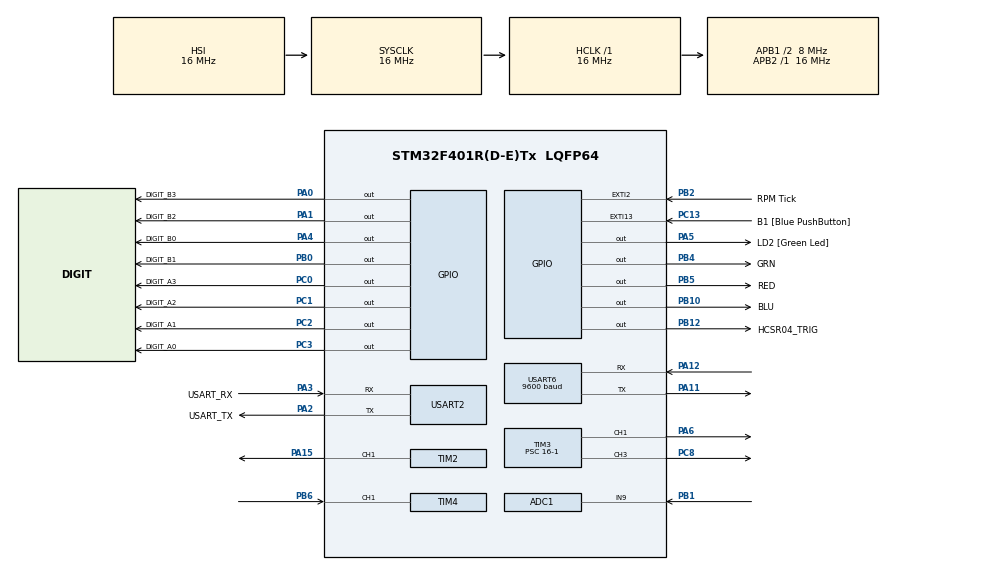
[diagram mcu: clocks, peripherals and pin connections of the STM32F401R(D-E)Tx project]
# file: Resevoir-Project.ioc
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ADC1.Channel-1\#ChannelRegularConversion=ADC_CHANNEL_9
ADC1.NbrOfConversionFlag=1
ADC1.Rank-1\#ChannelRegularConversion=1
ADC1.Resolution=ADC_RESOLUTION_8B
ADC1.SamplingTime-1\#ChannelRegularConversion=ADC_SAMPLETIME_15CYCLES
ADC1.ScanConvMode=ENABLE
ADC1.master=1
Mcu.Family=STM32F4
Mcu.Name=STM32F401R(D-E)Tx
Mcu.Package=LQFP64
NVIC.EXTI15_10_IRQn=true\:0\:0\:false\:false\:true\:true\:true\:true
NVIC.EXTI2_IRQn=true\:0\:0\:false\:false\:true\:true\:true\:true
NVIC.PriorityGroup=NVIC_PRIORITYGROUP_0
NVIC.TIM4_IRQn=true\:0\:0\:false\:false\:true\:true\:true\:true
NVIC.TIM5_IRQn=true\:0\:0\:false\:false\:true\:true\:true\:true
NVIC.USART6_IRQn=true\:0\:0\:false\:false\:true\:true\:true\:true
PA0-WKUP.GPIO_Label=DIGIT_B3
PA0-WKUP.Signal=GPIO_Output
PA1.GPIO_Label=DIGIT_B2
PA1.Signal=GPIO_Output
PA11.Mode=Asynchronous
PA11.Signal=USART6_TX
PA12.Mode=Asynchronous
PA12.Signal=USART6_RX
PA13.GPIO_Label=TMS
PA13.Mode=Serial_Wire
PA13.Signal=SYS_JTMS-SWDIO
PA14.GPIO_Label=TCK
PA14.Mode=Serial_Wire
PA14.Signal=SYS_JTCK-SWCLK
PA15.Signal=S_TIM2_CH1_ETR
PA2.GPIO_Label=USART_TX
PA2.GPIO_Mode=GPIO_MODE_AF_PP
PA2.GPIO_PuPd=GPIO_NOPULL
PA2.GPIO_Speed=GPIO_SPEED_FREQ_LOW
PA2.Mode=Asynchronous
PA2.Signal=USART2_TX
PA3.GPIO_Label=USART_RX
PA3.GPIO_Mode=GPIO_MODE_AF_PP
PA3.GPIO_PuPd=GPIO_NOPULL
PA3.GPIO_Speed=GPIO_SPEED_FREQ_LOW
PA3.Mode=Asynchronous
PA3.Signal=USART2_RX
PA4.GPIO_Label=DIGIT_B0
PA4.Signal=GPIO_Output
PA5.GPIO_Label=LD2 [Green Led]
PA5.GPIO_Mode=GPIO_MODE_OUTPUT_PP
PA5.GPIO_PuPd=GPIO_NOPULL
PA5.GPIO_Speed=GPIO_SPEED_FREQ_LOW
PA5.Signal=GPIO_Output
PA6.Signal=S_TIM3_CH1
PB0.GPIO_Label=DIGIT_B1
PB0.Signal=GPIO_Output
PB1.Signal=SharedAnalog_PB1
PB10.GPIO_Label=BLU
PB10.Signal=GPIO_Output
PB12.GPIO_Label=HCSR04_TRIG
PB12.Signal=GPIO_Output
PB2.GPIO_Label=RPM Tick
PB2.GPIO_ModeDefaultEXTI=GPIO_MODE_IT_RISING
PB2.Signal=GPXTI2
PB3.GPIO_Label=SWO
PB3.Signal=SYS_JTDO-SWO
PB4.GPIO_Label=GRN
PB4.Signal=GPIO_Output
PB5.GPIO_Label=RED
PB5.Signal=GPIO_Output
PB6.Signal=S_TIM4_CH1
PC0.GPIO_Label=DIGIT_A3
PC0.Signal=GPIO_Output
PC1.GPIO_Label=DIGIT_A2
PC1.Signal=GPIO_Output
PC13-ANTI_TAMP.GPIO_Label=B1 [Blue PushButton]
PC13-ANTI_TAMP.GPIO_ModeDefaultEXTI=GPIO_MODE_IT_FALLING
PC13-ANTI_TAMP.GPIO_PuPd=GPIO_NOPULL
PC13-ANTI_TAMP.Signal=GPXTI13
PC14-OSC32_IN.Mode=LSE-External-Oscillator
PC14-OSC32_IN.Signal=RCC_OSC32_IN
PC15-OSC32_OUT.Mode=LSE-External-Oscillator
PC15-OSC32_OUT.Signal=RCC_OSC32_OUT
PC2.GPIO_Label=DIGIT_A1
PC2.Signal=GPIO_Output
PC3.GPIO_Label=DIGIT_A0
PC3.Signal=GPIO_Output
PC8.Signal=S_TIM3_CH3
PH0\ -\ OSC_IN.Mode=HSE-External-Clock-Source
PH0\ -\ OSC_IN.Signal=RCC_OSC_IN
PH1\ -\ OSC_OUT.Mode=HSE-External-Clock-Source
PH1\ -\ OSC_OUT.Signal=RCC_OSC_OUT
ProjectManager.HeapSize=0x200
ProjectManager.StackSize=0x400
ProjectManager.TargetToolchain=STM32CubeIDE
RCC.48MHZClocksFreq_Value=48000000
RCC.AHBFreq_Value=16000000
RCC.APB1CLKDivider=RCC_HCLK_DIV2
RCC.APB1Freq_Value=8000000
RCC.APB1TimFreq_Value=16000000
RCC.APB2Freq_Value=16000000
RCC.APB2TimFreq_Value=16000000
RCC.CortexFreq_Value=16000000
RCC.HCLKFreq_Value=16000000
RCC.HSE_VALUE=8000000
RCC.HSI_VALUE=16000000
RCC.PLLN=336
RCC.PLLP=RCC_PLLP_DIV4
RCC.PLLQ=7
RCC.SYSCLKFreq_VALUE=16000000
RCC.VCOOutputFreq_Value=336000000
SH.S_TIM2_CH1_ETR.0=TIM2_CH1,PWM Generation1 CH1
SH.S_TIM3_CH1.0=TIM3_CH1,PWM Generation1 CH1
SH.S_TIM3_CH3.0=TIM3_CH3,PWM Generation3 CH3
SH.S_TIM4_CH1.0=TIM4_CH1,Input_Capture1_from_TI1
SH.SharedAnalog_PB1.0=GPIO_Analog
SH.SharedAnalog_PB1.1=ADC1_IN9,IN9
TIM2.AutoReloadPreload=TIM_AUTORELOAD_PRELOAD_ENABLE
TIM2.Channel-PWM\ Generation1\ CH1=TIM_CHANNEL_1
TIM2.Period=20000-1
TIM2.Prescaler=16-1
TIM2.Pulse-PWM\ Generation1\ CH1=500-1
TIM3.AutoReloadPreload=TIM_AUTORELOAD_PRELOAD_ENABLE
TIM3.Channel-PWM\ Generation1\ CH1=TIM_CHANNEL_1
TIM3.Channel-PWM\ Generation3\ CH3=TIM_CHANNEL_3
TIM3.Period=2000-1
TIM3.Prescaler=16-1
TIM3.Pulse-PWM\ Generation1\ CH1=1200-1
TIM4.Channel-Input_Capture1_from_TI1=TIM_CHANNEL_1
TIM4.ICPolarity_CH1=TIM_INPUTCHANNELPOLARITY_BOTHEDGE
TIM4.Period=65536-1
TIM4.Prescaler=16-1
TIM5.AutoReloadPreload=TIM_AUTORELOAD_PRELOAD_ENABLE
TIM5.Period=1000-1
TIM5.Prescaler=53
USART2.VirtualMode=VM_ASYNC
USART6.BaudRate=9600
USART6.Mode=MODE_TX_RX
USART6.VirtualMode=VM_ASYNC
VP_TIM2_VS_ClockSourceINT.Mode=Internal
VP_TIM4_VS_ClockSourceINT.Mode=Internal
VP_TIM5_VS_ClockSourceINT.Mode=Internal
board=NUCLEO-F401RE

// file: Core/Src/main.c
/* USER CODE BEGIN Header */
/**
  ******************************************************************************
  * @file           : main.c
  * @brief          : Main program body
  ******************************************************************************
  * @attention
  *
  * Copyright (c) 2024 STMicroelectronics.
  * All rights reserved.
  *
  * This software is licensed under terms that can be found in the LICENSE file
  * in the root directory of this software component.
  * If no LICENSE file comes with this software, it is provided AS-IS.
  *
  ******************************************************************************
  */
/* USER CODE END Header */
#include "main.h"

/* USER CODE BEGIN Includes */
#include <string.h>
#include <stdio.h>
#include <time.h>
#include <stdlib.h>
/* USER CODE END Includes */

ADC_HandleTypeDef hadc1;

TIM_HandleTypeDef htim2;
TIM_HandleTypeDef htim3;
TIM_HandleTypeDef htim4;
TIM_HandleTypeDef htim5;

UART_HandleTypeDef huart2;
UART_HandleTypeDef huart6;

/* USER CODE BEGIN PV */
volatile uint8_t clock_hours = 0;
volatile uint8_t clock_mins = 0;
volatile uint8_t clock_secs = 0;
volatile uint8_t wall_clock_hr_update_flag = 0;

volatile uint8_t hcsr04_Rx_flag = 0; // Reset the interrupt flag for the HCSR04
volatile uint8_t first_edge = 0; // Set it back to false
volatile uint16_t time_edge1 = 0;
volatile uint16_t time_edge2 = 0;

volatile uint16_t rpm_tick_count = 0;

uint8_t empty = 0;
uint8_t byte[2];
uint8_t rcv_intpt_flag = 0;
uint8_t txd_msg_buffer[64] = {0};

uint16_t time_diff = 0;
int filled = 0;
int distance = 0;

uint8_t counter_tens = 0;
uint8_t counter_ones = 0;
uint8_t bottom_distance = 65; //distance to bottom in cm
uint8_t top_distance = 10; //distance to top in cm
uint8_t rpm = 0;

int TIM2_CH1_DCVAL = 500;

/* USER CODE END PV */

void SystemClock_Config(void);
static void MX_GPIO_Init(void);
static void MX_USART2_UART_Init(void);
static void MX_USART6_UART_Init(void);
static void MX_ADC1_Init(void);
static void MX_TIM3_Init(void);
static void MX_TIM2_Init(void);
static void MX_TIM4_Init(void);
static void MX_TIM5_Init(void);
/* USER CODE BEGIN PFP */
static void ADC_Select_CH(int CH);
/* USER CODE END PFP */

/* USER CODE BEGIN 0 */

void ADC_Select_CH(int CH)
{
    ADC_ChannelConfTypeDef sConfig = {0};
    switch(CH)
    {
        case 0:
            sConfig.Channel = ADC_CHANNEL_0;
            sConfig.Rank = 1;
            if (HAL_ADC_ConfigChannel(&hadc1, &sConfig) != HAL_OK)
            {
                Error_Handler();
            }
            break;
        case 1:
            sConfig.Channel = ADC_CHANNEL_1;
            sConfig.Rank = 1;
            if (HAL_ADC_ConfigChannel(&hadc1, &sConfig) != HAL_OK)
            {
                Error_Handler();
            }
            break;
        case 2:
            sConfig.Channel = ADC_CHANNEL_2;
            sConfig.Rank = 1;
            if (HAL_ADC_ConfigChannel(&hadc1, &sConfig) != HAL_OK)
            {
                Error_Handler();
            }
            break;
        case 3:
            sConfig.Channel = ADC_CHANNEL_3;
            sConfig.Rank = 1;
            if (HAL_ADC_ConfigChannel(&hadc1, &sConfig) != HAL_OK)
            {
                Error_Handler();
            }
            break;
        case 4:
            sConfig.Channel = ADC_CHANNEL_4;
            sConfig.Rank = 1;
            if (HAL_ADC_ConfigChannel(&hadc1, &sConfig) != HAL_OK)
            {
                Error_Handler();
            }
            break;
        case 5:
            sConfig.Channel = ADC_CHANNEL_5;
            sConfig.Rank = 1;
            if (HAL_ADC_ConfigChannel(&hadc1, &sConfig) != HAL_OK)
            {
                Error_Handler();
            }
            break;
        case 6:
            sConfig.Channel = ADC_CHANNEL_6;
            sConfig.Rank = 1;
            if (HAL_ADC_ConfigChannel(&hadc1, &sConfig) != HAL_OK)
            {
                Error_Handler();
            }
            break;
        case 7:
            sConfig.Channel = ADC_CHANNEL_7;
            sConfig.Rank = 1;
            if (HAL_ADC_ConfigChannel(&hadc1, &sConfig) != HAL_OK)
            {
                Error_Handler();
            }
            break;
        case 8:
            sConfig.Channel = ADC_CHANNEL_8;
            sConfig.Rank = 1;
            if (HAL_ADC_ConfigChannel(&hadc1, &sConfig) != HAL_OK)
            {
                Error_Handler();
            }
            break;
        case 9:
            sConfig.Channel = ADC_CHANNEL_9;
            sConfig.Rank = 1;
            if (HAL_ADC_ConfigChannel(&hadc1, &sConfig) != HAL_OK)
            {
                Error_Handler();
            }
            break;
        case 10:
            sConfig.Channel = ADC_CHANNEL_10;
            sConfig.Rank = 1;
            if (HAL_ADC_ConfigChannel(&hadc1, &sConfig) != HAL_OK)
            {
                Error_Handler();
            }
            break;
        case 11:
            sConfig.Channel = ADC_CHANNEL_11;
            sConfig.Rank = 1;
            if (HAL_ADC_ConfigChannel(&hadc1, &sConfig) != HAL_OK)
            {
                Error_Handler();
            }
            break;
        case 12:
            sConfig.Channel = ADC_CHANNEL_12;
            sConfig.Rank = 1;
            if (HAL_ADC_ConfigChannel(&hadc1, &sConfig) != HAL_OK)
            {
                Error_Handler();
            }
            break;
        case 13:
            sConfig.Channel = ADC_CHANNEL_13;
            sConfig.Rank = 1;
            if (HAL_ADC_ConfigChannel(&hadc1, &sConfig) != HAL_OK)
            {
                Error_Handler();
            }
            break;
        case 14:
            sConfig.Channel = ADC_CHANNEL_14;
            sConfig.Rank = 1;
            if (HAL_ADC_ConfigChannel(&hadc1, &sConfig) != HAL_OK)
            {
                Error_Handler();
            }
            break;
        case 15:
            sConfig.Channel = ADC_CHANNEL_15;
            sConfig.Rank = 1;
            if (HAL_ADC_ConfigChannel(&hadc1, &sConfig) != HAL_OK)
            {
                Error_Handler();
            }
            break;
    }
}

void DIGITS_Display(uint8_t DIGIT)
{
	uint8_t DIGIT_B = DIGIT % 10;
	uint8_t DIGIT_A = (DIGIT - DIGIT_B) / 10;

	uint8_t DIGITA_VAL = 0x0F & DIGIT_A; //mask off higher4 bits
	 int Abit0 = (DIGITA_VAL ) & 1;  	// extract Abit0 of the 4-bit value
	 int Abit1 = (DIGITA_VAL >> 1) & 1;  // extract Abit1 of the 4-bit value
	 int Abit2 = (DIGITA_VAL >> 2) & 1;  // extract Abit2 of the 4-bit value
	 int Abit3 = (DIGITA_VAL >> 3) & 1;  // extract Abit3 of the 4-bit value

	 uint8_t DIGITB_VAL = 0x0F & DIGIT_B; //mask off higher4 bits
	 int Bbit0 = (DIGITB_VAL ) & 1;  	// extract Bbit0 of the 4-bit value
	 int Bbit1 = (DIGITB_VAL >> 1) & 1;  // extract Bbit1 of the 4-bit value
	 int Bbit2 = (DIGITB_VAL >> 2) & 1;  // extract Bbit2 of the 4-bit value
	 int Bbit3 = (DIGITB_VAL >> 3) & 1;  // extract Bbit3 of the 4-bit value

	 if (Abit0 == (0))
	 {
		 HAL_GPIO_WritePin(GPIOC, DIGIT_A0_Pin, GPIO_PIN_RESET);
	 }
	 else
	 {
		 HAL_GPIO_WritePin(GPIOC, DIGIT_A0_Pin, GPIO_PIN_SET);

	 }
	 if (Abit1 == (0))
	 {
		 HAL_GPIO_WritePin(GPIOC, DIGIT_A1_Pin, GPIO_PIN_RESET);
	 }
	 else
	 {
		 HAL_GPIO_WritePin(GPIOC, DIGIT_A1_Pin, GPIO_PIN_SET);

	 }
	 if (Abit2 == (0))
	 {
		 HAL_GPIO_WritePin(GPIOC, DIGIT_A2_Pin, GPIO_PIN_RESET);
	 }
	 else
	 {
		 HAL_GPIO_WritePin(GPIOC, DIGIT_A2_Pin, GPIO_PIN_SET);

	 }
	 if (Abit3 == (0))
	 {
		 HAL_GPIO_WritePin(GPIOC, DIGIT_A3_Pin, GPIO_PIN_RESET);
	 }
	 else
	 {
		 HAL_GPIO_WritePin(GPIOC, DIGIT_A3_Pin, GPIO_PIN_SET);

	 }

	 if (Bbit0 == (0))
	 {
		 HAL_GPIO_WritePin(GPIOA, DIGIT_B0_Pin, GPIO_PIN_RESET);
	 }
	 else
	 {
		 HAL_GPIO_WritePin(GPIOA, DIGIT_B0_Pin, GPIO_PIN_SET);

	 }
	 if (Bbit1 == (0))
	 {
		 HAL_GPIO_WritePin(GPIOB, DIGIT_B1_Pin, GPIO_PIN_RESET);
	 }
	 else
	 {
		 HAL_GPIO_WritePin(GPIOB, DIGIT_B1_Pin, GPIO_PIN_SET);

	 }
	 if (Bbit2 == (0))
	 {
		 HAL_GPIO_WritePin(GPIOA, DIGIT_B2_Pin, GPIO_PIN_RESET);
	 }
	 else
	 {
		 HAL_GPIO_WritePin(GPIOA, DIGIT_B2_Pin, GPIO_PIN_SET);

	 }
	 if (Bbit3 == (0))
	 {
		 HAL_GPIO_WritePin(GPIOA, DIGIT_B3_Pin, GPIO_PIN_RESET);
	 }
	 else
	 {
		 HAL_GPIO_WritePin(GPIOA, DIGIT_B3_Pin, GPIO_PIN_SET);

	 }
}

void HCSR04_TRIG_PULSE(void)
{
	HAL_GPIO_WritePin(HCSR04_TRIG_GPIO_Port, HCSR04_TRIG_Pin, GPIO_PIN_SET);
	for (int j = 0; j != 48; j = j + 1) {}
	HAL_GPIO_WritePin(HCSR04_TRIG_GPIO_Port, HCSR04_TRIG_Pin, GPIO_PIN_RESET);
	HAL_Delay(30);
}

void MOTOR_Run(int speed)
{
	if(speed >= 0) {
		TIM3->CCR3 = ((float)speed/100)*60000;
		TIM3->CCR1 = 0;
	} else {
		TIM3->CCR1 = ((float)speed/-100)*60000;
		TIM3->CCR3 = 0;
	}
}

void SERVO_Run(int position)
{
	int TIM2_CH1_STEP = 20;
	while(TIM2_CH1_DCVAL != position) {
		if(TIM2_CH1_DCVAL < position){
			TIM2_CH1_DCVAL += TIM2_CH1_STEP;
		}else if (TIM2_CH1_DCVAL > position){
			TIM2_CH1_DCVAL -= TIM2_CH1_STEP;
		}
		TIM2->CCR1 = TIM2_CH1_DCVAL;
		HAL_Delay(5);
	}
}

void RGBLED_Run(uint8_t colour)
{
	switch(colour)
	{
	case 0: // purple
		HAL_GPIO_WritePin(GPIOB, BLU_Pin, GPIO_PIN_SET);
		HAL_GPIO_WritePin(GPIOB, GRN_Pin, GPIO_PIN_RESET);
		HAL_GPIO_WritePin(GPIOB, RED_Pin, GPIO_PIN_SET);
		break;
	case 1: // red
		HAL_GPIO_WritePin(GPIOB, BLU_Pin, GPIO_PIN_RESET);
		HAL_GPIO_WritePin(GPIOB, GRN_Pin, GPIO_PIN_RESET);
		HAL_GPIO_WritePin(GPIOB, RED_Pin, GPIO_PIN_SET);
		break;
	case 2: // green
		HAL_GPIO_WritePin(GPIOB, BLU_Pin, GPIO_PIN_RESET);
		HAL_GPIO_WritePin(GPIOB, GRN_Pin, GPIO_PIN_SET);
		HAL_GPIO_WritePin(GPIOB, RED_Pin, GPIO_PIN_RESET);
		break;
	case 3: // blue
		HAL_GPIO_WritePin(GPIOB, BLU_Pin, GPIO_PIN_SET);
		HAL_GPIO_WritePin(GPIOB, GRN_Pin, GPIO_PIN_RESET);
		HAL_GPIO_WritePin(GPIOB, RED_Pin, GPIO_PIN_RESET);
		break;
	case 4: // none
		HAL_GPIO_WritePin(GPIOB, BLU_Pin, GPIO_PIN_RESET);
		HAL_GPIO_WritePin(GPIOB, GRN_Pin, GPIO_PIN_RESET);
		HAL_GPIO_WritePin(GPIOB, RED_Pin, GPIO_PIN_RESET);
		break;
	case 5: // white
		HAL_GPIO_WritePin(GPIOB, BLU_Pin, GPIO_PIN_SET);
		HAL_GPIO_WritePin(GPIOB, GRN_Pin, GPIO_PIN_SET);
		HAL_GPIO_WritePin(GPIOB, RED_Pin, GPIO_PIN_SET);
		break;
	}
}

int generate_random(int min, int max){
	return (rand() % (max-min+1))+ min;
}
/* USER CODE END 0 */

int main(void)
{

  /* MCU Configuration--------------------------------------------------------*/

  /* Reset of all peripherals, Initializes the Flash interface and the Systick. */
  HAL_Init();

  /* Configure the system clock */
  SystemClock_Config();

  /* Initialize all configured peripherals */
  MX_GPIO_Init();
  MX_USART2_UART_Init();
  MX_USART6_UART_Init();
  MX_ADC1_Init();
  MX_TIM3_Init();
  MX_TIM2_Init();
  MX_TIM4_Init();
  MX_TIM5_Init();
  /* USER CODE BEGIN 2 */

  HAL_TIM_Base_Start(&htim2);
  HAL_TIM_PWM_Start(&htim2, TIM_CHANNEL_1);
  TIM3->PSC = 16-1;
  TIM3->ARR = 20000-1;
  TIM3->CCR1 = TIM2_CH1_DCVAL;

  //HAL_TIM_Base_Init(&htim3);
  HAL_TIM_PWM_Start(&htim3, TIM_CHANNEL_1);
  HAL_TIM_PWM_Start(&htim3, TIM_CHANNEL_3);
  TIM3->PSC = 0;
  TIM3->ARR = 60000;
  TIM3->CCR1 = 0;
  TIM3->CCR3 = 0;

  HAL_TIM_Base_Init(&htim4);
  HAL_TIM_Base_Start(&htim4);
  HAL_TIM_IC_Start_IT(&htim4, TIM_CHANNEL_1);

  HAL_TIM_Base_Start_IT(&htim5);
  clock_hours = 0;
  clock_mins = 0;
  clock_secs = 0;
  /* USER CODE END 2 */
  /* Infinite loop */
  /* USER CODE BEGIN WHILE */

  uint8_t pipe_connection[4] = {0};
  uint8_t pipe_pwm_mode[4] = {0};
  uint8_t current_time = 0;
  uint8_t start_time[4] = {0};
  uint8_t end_time[4] = {0};

  sprintf((char*)txd_msg_buffer, "\r\n\nSETUP MODE");
  HAL_UART_Transmit(&huart6, txd_msg_buffer, strlen((char*)txd_msg_buffer), 1000);
  HAL_Delay(500);

  sprintf((char*)txd_msg_buffer,"\r\n\nFIRST PIPELINE CHOICE FOR CONNECTION: ");
  HAL_UART_Transmit(&huart6, txd_msg_buffer, strlen((char*)txd_msg_buffer),1000);
  rcv_intpt_flag = 00;
  HAL_UART_Receive_IT(&huart6, &byte, 1);
  while(rcv_intpt_flag == (00)) {}
  pipe_connection[0] = (byte[0]-'0');
  sprintf((char*)txd_msg_buffer,"\r\nFIRST PIPELINE CHOICE FOR MOTOR PWM: ");
  HAL_UART_Transmit(&huart6, txd_msg_buffer, strlen((char*)txd_msg_buffer),1000);
  rcv_intpt_flag = 00;
  HAL_UART_Receive_IT(&huart6, &byte, 2);
  while(rcv_intpt_flag == (00)) {}
  pipe_pwm_mode[0] = (byte[0]-'0');

  sprintf((char*)txd_msg_buffer,"\r\nSECOND ZONE CHOICE FOR CONNECTION: ");
  HAL_UART_Transmit(&huart6, txd_msg_buffer, strlen((char*)txd_msg_buffer),1000);
  rcv_intpt_flag = 00;
  HAL_UART_Receive_IT(&huart6, &byte, 1);
  while(rcv_intpt_flag == (00)) {}
  pipe_connection[1] = (byte[0]-'0');
  sprintf((char*)txd_msg_buffer,"\r\nSECOND ZONE CHOICE FOR MOTOR PWM: ");
  HAL_UART_Transmit(&huart6, txd_msg_buffer, strlen((char*)txd_msg_buffer),1000);
  rcv_intpt_flag = 00;
  HAL_UART_Receive_IT(&huart6, &byte, 1);
  while(rcv_intpt_flag == (00)) {}
  pipe_pwm_mode[1] = (byte[0]-'0');

  sprintf((char*)txd_msg_buffer,"\r\nTHIRD ZONE CHOICE FOR CONNECTION: ");
  HAL_UART_Transmit(&huart6, txd_msg_buffer, strlen((char*)txd_msg_buffer),1000);
  rcv_intpt_flag = 00;
  HAL_UART_Receive_IT(&huart6, &byte, 1);
  while(rcv_intpt_flag == (00)) {}
  pipe_connection[2] = (byte[0]-'0');
  sprintf((char*)txd_msg_buffer,"\r\nTHIRD ZONE CHOICE FOR MOTOR PWM: ");
  HAL_UART_Transmit(&huart6, txd_msg_buffer, strlen((char*)txd_msg_buffer),1000);
  rcv_intpt_flag = 00;
  HAL_UART_Receive_IT(&huart6, &byte, 1);
  while(rcv_intpt_flag == (00)) {}
  pipe_pwm_mode[2] = (byte[0]-'0');

  sprintf((char*)txd_msg_buffer,"\r\nFOURTH ZONE CHOICE FOR CONNECTION: ");
  HAL_UART_Transmit(&huart6, txd_msg_buffer, strlen((char*)txd_msg_buffer),1000);
  rcv_intpt_flag = 00;
  HAL_UART_Receive_IT(&huart6, &byte, 1);
  while(rcv_intpt_flag == (00)) {}
  pipe_connection[3] = (byte[0]-'0');
  sprintf((char*)txd_msg_buffer,"\r\nFOURTH ZONE CHOICE FOR MOTOR PWM: ");
  HAL_UART_Transmit(&huart6, txd_msg_buffer, strlen((char*)txd_msg_buffer),1000);
  rcv_intpt_flag = 00;
  HAL_UART_Receive_IT(&huart6, &byte, 1);
  while(rcv_intpt_flag == (00)) {}
  pipe_pwm_mode[3] = (byte[0]-'0');

  sprintf((char*)txd_msg_buffer,"\r\n\nCURRENT WALL CLOCK TIME: ");
  HAL_UART_Transmit(&huart6, txd_msg_buffer, strlen((char*)txd_msg_buffer),1000);
  rcv_intpt_flag = 00;
  HAL_UART_Receive_IT(&huart6, &byte, 2);
  while(rcv_intpt_flag == (00)) {}
  current_time = (byte[0] - '0') * 10 + (byte[1] - '0');

  sprintf((char*)txd_msg_buffer,"\r\nINLET WALL CLOCK START TIME: ");
  HAL_UART_Transmit(&huart6, txd_msg_buffer, strlen((char*)txd_msg_buffer),1000);
  rcv_intpt_flag = 00;
  HAL_UART_Receive_IT(&huart6, &byte, 2);
  while(rcv_intpt_flag == (00)) {}
  start_time[0] = (byte[0] - '0') * 10 + (byte[1] - '0');
  sprintf((char*)txd_msg_buffer,"\r\nINLET WALL CLOCK STOP TIME: ");
  HAL_UART_Transmit(&huart6, txd_msg_buffer, strlen((char*)txd_msg_buffer),1000);
  rcv_intpt_flag = 00;
  HAL_UART_Receive_IT(&huart6, &byte, 2);
  while(rcv_intpt_flag == (00)) {}
  end_time[0] = (byte[0] - '0') * 10 + (byte[1] - '0');

  sprintf((char*)txd_msg_buffer,"\r\nFIRST ZONE CHOICE WALL CLOCK START TIME: ");
  HAL_UART_Transmit(&huart6, txd_msg_buffer, strlen((char*)txd_msg_buffer),1000);
  rcv_intpt_flag = 00;
  HAL_UART_Receive_IT(&huart6, &byte, 2);
  while(rcv_intpt_flag == (00)) {}
  start_time[1] = (byte[0] - '0') * 10 + (byte[1] - '0');
  sprintf((char*)txd_msg_buffer,"\r\nFIRST ZONE CHOICE WALL CLOCK STOP TIME: ");
  HAL_UART_Transmit(&huart6, txd_msg_buffer, strlen((char*)txd_msg_buffer),1000);
  rcv_intpt_flag = 00;
  HAL_UART_Receive_IT(&huart6, &byte, 2);
  while(rcv_intpt_flag == (00)) {}
  end_time[1] = (byte[0] - '0') * 10 + (byte[1] - '0');

  sprintf((char*)txd_msg_buffer,"\r\nSECOND ZONE CHOICE WALL CLOCK START TIME: ");
  HAL_UART_Transmit(&huart6, txd_msg_buffer, strlen((char*)txd_msg_buffer),1000);
  rcv_intpt_flag = 00;
  HAL_UART_Receive_IT(&huart6, &byte, 2);
  while(rcv_intpt_flag == (00)) {}
  start_time[2] = (byte[0] - '0') * 10 + (byte[1] - '0');
  sprintf((char*)txd_msg_buffer,"\r\nSECOND ZONE CHOICE WALL CLOCK STOP TIME: ");
  HAL_UART_Transmit(&huart6, txd_msg_buffer, strlen((char*)txd_msg_buffer),1000);
  rcv_intpt_flag = 00;
  HAL_UART_Receive_IT(&huart6, &byte, 2);
  while(rcv_intpt_flag == (00)) {}
  end_time[2] = (byte[0] - '0') * 10 + (byte[1] - '0');

  sprintf((char*)txd_msg_buffer,"\r\nTHIRD ZONE CHOICE WALL CLOCK START TIME: ");
  HAL_UART_Transmit(&huart6, txd_msg_buffer, strlen((char*)txd_msg_buffer),1000);
  rcv_intpt_flag = 00;
  HAL_UART_Receive_IT(&huart6, &byte, 2);
  while(rcv_intpt_flag == (00)) {}
  start_time[3] = (byte[0] - '0') * 10 + (byte[1] - '0');

  sprintf((char*)txd_msg_buffer,"\r\nTHIRD ZONE CHOICE WALL CLOCK STOP TIME: ");
  HAL_UART_Transmit(&huart6, txd_msg_buffer, strlen((char*)txd_msg_buffer),1000);
  rcv_intpt_flag = 00;
  HAL_UART_Receive_IT(&huart6, &byte, 2);
  while(rcv_intpt_flag == (00)) {}
  end_time[3] = (byte[0] - '0') * 10 + (byte[1] - '0');

  /*
  pipe_connection[0] = 1;
  pipe_connection[1] = 0;
  pipe_connection[2] = 2;
  pipe_connection[3] = 3;
  pipe_pwm_mode[0] = 0;
  pipe_pwm_mode[1] = 0;
  pipe_pwm_mode[2] = 0;
  pipe_pwm_mode[3] = 0;
  start_time[0] = 0;
  start_time[1] = 2;
  start_time[2] = 4;
  start_time[3] = 6;
  end_time[0] = 2;
  end_time[1] = 4;
  end_time[2] = 6;
  end_time[3] = 8;
  current_time = 0;
  */

  sprintf((char*)txd_msg_buffer,"\r\n\nPRESS BLUE BUTTON TO PRECEED TO RUN MODE");
  HAL_UART_Transmit(&huart6, txd_msg_buffer, strlen((char*)txd_msg_buffer),1000);
  while(HAL_GPIO_ReadPin(GPIOC, B1_Pin)){
	  HAL_GPIO_WritePin(GPIOA, LD2_Pin, GPIO_PIN_SET);
	  HAL_Delay(500);
	  HAL_GPIO_WritePin(GPIOA, LD2_Pin, GPIO_PIN_RESET);
	  HAL_Delay(500);
  }

  sprintf((char*)txd_msg_buffer,"\r\n\nRUN MODE");
  HAL_UART_Transmit(&huart6, txd_msg_buffer, strlen((char*)txd_msg_buffer),1000);
  HAL_GPIO_WritePin(GPIOA, LD2_Pin, GPIO_PIN_SET);

  clock_hours = current_time;
  clock_mins = 0;
  clock_secs = 0;
  wall_clock_hr_update_flag = 1;

  int zone = 0;
  int motor_speed = 0;
  int servo_position[4] = {1000, 1500, 2000, 2500};

    while (1)
    {
    	//potentiometer code
    	ADC_Select_CH(9);
    	HAL_ADC_Start(&hadc1);
    	HAL_ADC_PollForConversion(&hadc1, 1000);
    	uint8_t ADC_CH9 = HAL_ADC_GetValue(&hadc1);
    	HAL_ADC_Stop(&hadc1);

    	current_time = clock_hours;

    	hcsr04_Rx_flag = 0;
    	first_edge = 0;
    	time_edge1 = 0;
    	time_edge2 = 0;
    	time_diff = 0;

    	HCSR04_TRIG_PULSE();
    	while(hcsr04_Rx_flag == 0){};
    	time_diff = time_edge2-time_edge1;
    	distance = (float)time_diff/54;
    	filled = 100-((((float)distance-top_distance)/(bottom_distance-top_distance))*100);
    	sprintf((char*)txd_msg_buffer,"\r\n %d and %d", distance, filled);
    	    			HAL_UART_Transmit(&huart6, txd_msg_buffer, strlen((char*)txd_msg_buffer),1000);

    	if (filled>99) {
    		filled = 99;
    	} else if (filled<0) {
    		filled = 0;
    		empty = 1;
    	}
    	DIGITS_Display(filled);

    	//maybe need to wait until sensor shows 99

    		if(current_time >= start_time[zone] && current_time < end_time[zone]){
    			RGBLED_Run(pipe_connection[zone]);
    			SERVO_Run(servo_position[pipe_connection[zone]]);
    		    switch(pipe_pwm_mode[zone])
    		    {
    		    case 0:
    		    	motor_speed = (((float)ADC_CH9/255)*100);
    		    	rpm = generate_random(((float)ADC_CH9/255)*400,((float)ADC_CH9/255)*500);
    		    	break;
    		    case 1:
    		    	motor_speed = 70;
    		    	rpm = generate_random(325,375);
    		    	break;
    		    case 2:
    		    	motor_speed = 85;
    		    	rpm = generate_random(375,425);
    		    	break;
    		    case 3:
    		    	motor_speed = 99;
    		    	rpm = generate_random(425,475);
    		    	break;
    		    }
    		    if(pipe_connection[zone] == 0){
    		        //motor_speed *= -1;
    		    }
    		    MOTOR_Run(motor_speed);
    		} else if(current_time >= end_time[zone]){
    			zone++;
    		}

    	if(wall_clock_hr_update_flag ==1){

    		if(empty == 1 || zone > 3){
    			sprintf((char*)txd_msg_buffer,"\r\nRESEVOIR EMPTY");
    			HAL_UART_Transmit(&huart6, txd_msg_buffer, strlen((char*)txd_msg_buffer),1000);
    			MOTOR_Run(0);
    			TIM3->CCR1 = 0;
    			TIM3->CCR3 = 0;
    			HAL_GPIO_WritePin(GPIOA, LD2_Pin,GPIO_PIN_SET);
    			while(1)
    			{
    				RGBLED_Run(5);
    				HAL_Delay(500);
    				RGBLED_Run(4);
    				HAL_Delay(500);
    			}
    		}

			sprintf((char*)txd_msg_buffer,"\r\nHour: %d | Zone %d | Motor Speed: %d | Motor RPM: %d | Water Reservoir Depth %d |", clock_hours, zone, motor_speed, rpm, filled);
			HAL_UART_Transmit(&huart6, txd_msg_buffer, strlen((char*)txd_msg_buffer),1000);
			wall_clock_hr_update_flag = 0;
    	}
      /*

  	  // Potentiometer with dc motor code
  	  TIM3_DCVAL = ((float)ADC_CH9/255)*60000;
  	  TIM3->CCR1 = (int)TIM3_DCVAL;

  	  sprintf((char*)txd_msg_buffer, "RPM COUNT: %d \r \n", rpm_tick_count);
  	  HAL_UART_Transmit(&huart6,txd_msg_buffer, strlen((char*)txd_msg_buffer), 1000);

	  //dc motor code
	  TIM3->CCR1 = (int)TIM3_DCVAL;
	  rcv_intpt_flag = 00;
	  HAL_UART_Receive_IT(&huart6, &byte, 1);
	  HAL_UART_Transmit(&huart6,txd_msg_buffer, strlen((char*)txd_msg_buffer), 1000);
	  while(rcv_intpt_flag == (00)) {}
	  */
    /* USER CODE END WHILE */

  }
}

void SystemClock_Config(void)
{
  RCC_OscInitTypeDef RCC_OscInitStruct = {0};
  RCC_ClkInitTypeDef RCC_ClkInitStruct = {0};

  /** Configure the main internal regulator output voltage
  */
  __HAL_RCC_PWR_CLK_ENABLE();
  __HAL_PWR_VOLTAGESCALING_CONFIG(PWR_REGULATOR_VOLTAGE_SCALE2);

  /** Initializes the RCC Oscillators according to the specified parameters
  * in the RCC_OscInitTypeDef structure.
  */
  RCC_OscInitStruct.OscillatorType = RCC_OSCILLATORTYPE_HSI;
  RCC_OscInitStruct.HSIState = RCC_HSI_ON;
  RCC_OscInitStruct.HSICalibrationValue = RCC_HSICALIBRATION_DEFAULT;
  RCC_OscInitStruct.PLL.PLLState = RCC_PLL_NONE;
  if (HAL_RCC_OscConfig(&RCC_OscInitStruct) != HAL_OK)
  {
    Error_Handler();
  }

  /** Initializes the CPU, AHB and APB buses clocks
  */
  RCC_ClkInitStruct.ClockType = RCC_CLOCKTYPE_HCLK|RCC_CLOCKTYPE_SYSCLK
                              |RCC_CLOCKTYPE_PCLK1|RCC_CLOCKTYPE_PCLK2;
  RCC_ClkInitStruct.SYSCLKSource = RCC_SYSCLKSOURCE_HSI;
  RCC_ClkInitStruct.AHBCLKDivider = RCC_SYSCLK_DIV1;
  RCC_ClkInitStruct.APB1CLKDivider = RCC_HCLK_DIV2;
  RCC_ClkInitStruct.APB2CLKDivider = RCC_HCLK_DIV1;

  if (HAL_RCC_ClockConfig(&RCC_ClkInitStruct, FLASH_LATENCY_0) != HAL_OK)
  {
    Error_Handler();
  }
}

static void MX_ADC1_Init(void)
{

  ADC_ChannelConfTypeDef sConfig = {0};

  /** Configure the global features of the ADC (Clock, Resolution, Data Alignment and number of conversion)
  */
  hadc1.Instance = ADC1;
  hadc1.Init.ClockPrescaler = ADC_CLOCK_SYNC_PCLK_DIV2;
  hadc1.Init.Resolution = ADC_RESOLUTION_8B;
  hadc1.Init.ScanConvMode = ENABLE;
  hadc1.Init.ContinuousConvMode = DISABLE;
  hadc1.Init.DiscontinuousConvMode = DISABLE;
  hadc1.Init.ExternalTrigConvEdge = ADC_EXTERNALTRIGCONVEDGE_NONE;
  hadc1.Init.ExternalTrigConv = ADC_SOFTWARE_START;
  hadc1.Init.DataAlign = ADC_DATAALIGN_RIGHT;
  hadc1.Init.NbrOfConversion = 1;
  hadc1.Init.DMAContinuousRequests = DISABLE;
  hadc1.Init.EOCSelection = ADC_EOC_SINGLE_CONV;
  if (HAL_ADC_Init(&hadc1) != HAL_OK)
  {
    Error_Handler();
  }

  /** Configure for the selected ADC regular channel its corresponding rank in the sequencer and its sample time.
  */
  sConfig.Channel = ADC_CHANNEL_9;
  sConfig.Rank = 1;
  sConfig.SamplingTime = ADC_SAMPLETIME_15CYCLES;
  if (HAL_ADC_ConfigChannel(&hadc1, &sConfig) != HAL_OK)
  {
    Error_Handler();
  }

}

static void MX_TIM2_Init(void)
{

  TIM_ClockConfigTypeDef sClockSourceConfig = {0};
  TIM_MasterConfigTypeDef sMasterConfig = {0};
  TIM_OC_InitTypeDef sConfigOC = {0};

  htim2.Instance = TIM2;
  htim2.Init.Prescaler = 16-1;
  htim2.Init.CounterMode = TIM_COUNTERMODE_UP;
  htim2.Init.Period = 20000-1;
  htim2.Init.ClockDivision = TIM_CLOCKDIVISION_DIV1;
  htim2.Init.AutoReloadPreload = TIM_AUTORELOAD_PRELOAD_ENABLE;
  if (HAL_TIM_Base_Init(&htim2) != HAL_OK)
  {
    Error_Handler();
  }
  sClockSourceConfig.ClockSource = TIM_CLOCKSOURCE_INTERNAL;
  if (HAL_TIM_ConfigClockSource(&htim2, &sClockSourceConfig) != HAL_OK)
  {
    Error_Handler();
  }
  if (HAL_TIM_PWM_Init(&htim2) != HAL_OK)
  {
    Error_Handler();
  }
  sMasterConfig.MasterOutputTrigger = TIM_TRGO_RESET;
  sMasterConfig.MasterSlaveMode = TIM_MASTERSLAVEMODE_DISABLE;
  if (HAL_TIMEx_MasterConfigSynchronization(&htim2, &sMasterConfig) != HAL_OK)
  {
    Error_Handler();
  }
  sConfigOC.OCMode = TIM_OCMODE_PWM1;
  sConfigOC.Pulse = 500-1;
  sConfigOC.OCPolarity = TIM_OCPOLARITY_HIGH;
  sConfigOC.OCFastMode = TIM_OCFAST_DISABLE;
  if (HAL_TIM_PWM_ConfigChannel(&htim2, &sConfigOC, TIM_CHANNEL_1) != HAL_OK)
  {
    Error_Handler();
  }
  HAL_TIM_MspPostInit(&htim2);

}

static void MX_TIM3_Init(void)
{

  TIM_MasterConfigTypeDef sMasterConfig = {0};
  TIM_OC_InitTypeDef sConfigOC = {0};

  htim3.Instance = TIM3;
  htim3.Init.Prescaler = 16-1;
  htim3.Init.CounterMode = TIM_COUNTERMODE_UP;
  htim3.Init.Period = 2000-1;
  htim3.Init.ClockDivision = TIM_CLOCKDIVISION_DIV1;
  htim3.Init.AutoReloadPreload = TIM_AUTORELOAD_PRELOAD_ENABLE;
  if (HAL_TIM_PWM_Init(&htim3) != HAL_OK)
  {
    Error_Handler();
  }
  sMasterConfig.MasterOutputTrigger = TIM_TRGO_RESET;
  sMasterConfig.MasterSlaveMode = TIM_MASTERSLAVEMODE_DISABLE;
  if (HAL_TIMEx_MasterConfigSynchronization(&htim3, &sMasterConfig) != HAL_OK)
  {
    Error_Handler();
  }
  sConfigOC.OCMode = TIM_OCMODE_PWM1;
  sConfigOC.Pulse = 1200-1;
  sConfigOC.OCPolarity = TIM_OCPOLARITY_HIGH;
  sConfigOC.OCFastMode = TIM_OCFAST_DISABLE;
  if (HAL_TIM_PWM_ConfigChannel(&htim3, &sConfigOC, TIM_CHANNEL_1) != HAL_OK)
  {
    Error_Handler();
  }
  sConfigOC.Pulse = 0;
  if (HAL_TIM_PWM_ConfigChannel(&htim3, &sConfigOC, TIM_CHANNEL_3) != HAL_OK)
  {
    Error_Handler();
  }
  HAL_TIM_MspPostInit(&htim3);

}

static void MX_TIM4_Init(void)
{

  TIM_ClockConfigTypeDef sClockSourceConfig = {0};
  TIM_MasterConfigTypeDef sMasterConfig = {0};
  TIM_IC_InitTypeDef sConfigIC = {0};

  htim4.Instance = TIM4;
  htim4.Init.Prescaler = 16-1;
  htim4.Init.CounterMode = TIM_COUNTERMODE_UP;
  htim4.Init.Period = 65536-1;
  htim4.Init.ClockDivision = TIM_CLOCKDIVISION_DIV1;
  htim4.Init.AutoReloadPreload = TIM_AUTORELOAD_PRELOAD_DISABLE;
  if (HAL_TIM_Base_Init(&htim4) != HAL_OK)
  {
    Error_Handler();
  }
  sClockSourceConfig.ClockSource = TIM_CLOCKSOURCE_INTERNAL;
  if (HAL_TIM_ConfigClockSource(&htim4, &sClockSourceConfig) != HAL_OK)
  {
    Error_Handler();
  }
  if (HAL_TIM_IC_Init(&htim4) != HAL_OK)
  {
    Error_Handler();
  }
  sMasterConfig.MasterOutputTrigger = TIM_TRGO_RESET;
  sMasterConfig.MasterSlaveMode = TIM_MASTERSLAVEMODE_DISABLE;
  if (HAL_TIMEx_MasterConfigSynchronization(&htim4, &sMasterConfig) != HAL_OK)
  {
    Error_Handler();
  }
  sConfigIC.ICPolarity = TIM_INPUTCHANNELPOLARITY_BOTHEDGE;
  sConfigIC.ICSelection = TIM_ICSELECTION_DIRECTTI;
  sConfigIC.ICPrescaler = TIM_ICPSC_DIV1;
  sConfigIC.ICFilter = 0;
  if (HAL_TIM_IC_ConfigChannel(&htim4, &sConfigIC, TIM_CHANNEL_1) != HAL_OK)
  {
    Error_Handler();
  }

}

static void MX_TIM5_Init(void)
{

  TIM_ClockConfigTypeDef sClockSourceConfig = {0};
  TIM_MasterConfigTypeDef sMasterConfig = {0};

  htim5.Instance = TIM5;
  htim5.Init.Prescaler = 53;
  htim5.Init.CounterMode = TIM_COUNTERMODE_UP;
  htim5.Init.Period = 1000-1;
  htim5.Init.ClockDivision = TIM_CLOCKDIVISION_DIV1;
  htim5.Init.AutoReloadPreload = TIM_AUTORELOAD_PRELOAD_ENABLE;
  if (HAL_TIM_Base_Init(&htim5) != HAL_OK)
  {
    Error_Handler();
  }
  sClockSourceConfig.ClockSource = TIM_CLOCKSOURCE_INTERNAL;
  if (HAL_TIM_ConfigClockSource(&htim5, &sClockSourceConfig) != HAL_OK)
  {
    Error_Handler();
  }
  sMasterConfig.MasterOutputTrigger = TIM_TRGO_RESET;
  sMasterConfig.MasterSlaveMode = TIM_MASTERSLAVEMODE_DISABLE;
  if (HAL_TIMEx_MasterConfigSynchronization(&htim5, &sMasterConfig) != HAL_OK)
  {
    Error_Handler();
  }

}

static void MX_USART2_UART_Init(void)
{

  huart2.Instance = USART2;
  huart2.Init.BaudRate = 115200;
  huart2.Init.WordLength = UART_WORDLENGTH_8B;
  huart2.Init.StopBits = UART_STOPBITS_1;
  huart2.Init.Parity = UART_PARITY_NONE;
  huart2.Init.Mode = UART_MODE_TX_RX;
  huart2.Init.HwFlowCtl = UART_HWCONTROL_NONE;
  huart2.Init.OverSampling = UART_OVERSAMPLING_16;
  if (HAL_UART_Init(&huart2) != HAL_OK)
  {
    Error_Handler();
  }

}

static void MX_USART6_UART_Init(void)
{

  huart6.Instance = USART6;
  huart6.Init.BaudRate = 9600;
  huart6.Init.WordLength = UART_WORDLENGTH_8B;
  huart6.Init.StopBits = UART_STOPBITS_1;
  huart6.Init.Parity = UART_PARITY_NONE;
  huart6.Init.Mode = UART_MODE_TX_RX;
  huart6.Init.HwFlowCtl = UART_HWCONTROL_NONE;
  huart6.Init.OverSampling = UART_OVERSAMPLING_16;
  if (HAL_UART_Init(&huart6) != HAL_OK)
  {
    Error_Handler();
  }
  /* USER CODE BEGIN USART6_Init 2 */
  /* This callback is called by the HAL_UART_IRQHandler when the given number of bytes are received */

  /* USER CODE END USART6_Init 2 */

}

static void MX_GPIO_Init(void)
{
  GPIO_InitTypeDef GPIO_InitStruct = {0};

  /* GPIO Ports Clock Enable */
  __HAL_RCC_GPIOC_CLK_ENABLE();
  __HAL_RCC_GPIOH_CLK_ENABLE();
  __HAL_RCC_GPIOA_CLK_ENABLE();
  __HAL_RCC_GPIOB_CLK_ENABLE();

  /*Configure GPIO pin Output Level */
  HAL_GPIO_WritePin(GPIOC, DIGIT_A3_Pin|DIGIT_A2_Pin|DIGIT_A1_Pin|DIGIT_A0_Pin, GPIO_PIN_RESET);

  /*Configure GPIO pin Output Level */
  HAL_GPIO_WritePin(GPIOA, DIGIT_B3_Pin|DIGIT_B2_Pin|DIGIT_B0_Pin|LD2_Pin, GPIO_PIN_RESET);

  /*Configure GPIO pin Output Level */
  HAL_GPIO_WritePin(GPIOB, DIGIT_B1_Pin|BLU_Pin|HCSR04_TRIG_Pin|GRN_Pin
                          |RED_Pin, GPIO_PIN_RESET);

  /*Configure GPIO pin : B1_Pin */
  GPIO_InitStruct.Pin = B1_Pin;
  GPIO_InitStruct.Mode = GPIO_MODE_IT_FALLING;
  GPIO_InitStruct.Pull = GPIO_NOPULL;
  HAL_GPIO_Init(B1_GPIO_Port, &GPIO_InitStruct);

  /*Configure GPIO pins : DIGIT_A3_Pin DIGIT_A2_Pin DIGIT_A1_Pin DIGIT_A0_Pin */
  GPIO_InitStruct.Pin = DIGIT_A3_Pin|DIGIT_A2_Pin|DIGIT_A1_Pin|DIGIT_A0_Pin;
  GPIO_InitStruct.Mode = GPIO_MODE_OUTPUT_PP;
  GPIO_InitStruct.Pull = GPIO_NOPULL;
  GPIO_InitStruct.Speed = GPIO_SPEED_FREQ_LOW;
  HAL_GPIO_Init(GPIOC, &GPIO_InitStruct);

  /*Configure GPIO pins : DIGIT_B3_Pin DIGIT_B2_Pin DIGIT_B0_Pin LD2_Pin */
  GPIO_InitStruct.Pin = DIGIT_B3_Pin|DIGIT_B2_Pin|DIGIT_B0_Pin|LD2_Pin;
  GPIO_InitStruct.Mode = GPIO_MODE_OUTPUT_PP;
  GPIO_InitStruct.Pull = GPIO_NOPULL;
  GPIO_InitStruct.Speed = GPIO_SPEED_FREQ_LOW;
  HAL_GPIO_Init(GPIOA, &GPIO_InitStruct);

  /*Configure GPIO pins : DIGIT_B1_Pin BLU_Pin HCSR04_TRIG_Pin GRN_Pin
                           RED_Pin */
  GPIO_InitStruct.Pin = DIGIT_B1_Pin|BLU_Pin|HCSR04_TRIG_Pin|GRN_Pin
                          |RED_Pin;
  GPIO_InitStruct.Mode = GPIO_MODE_OUTPUT_PP;
  GPIO_InitStruct.Pull = GPIO_NOPULL;
  GPIO_InitStruct.Speed = GPIO_SPEED_FREQ_LOW;
  HAL_GPIO_Init(GPIOB, &GPIO_InitStruct);

  /*Configure GPIO pin : RPM_Tick_Pin */
  GPIO_InitStruct.Pin = RPM_Tick_Pin;
  GPIO_InitStruct.Mode = GPIO_MODE_IT_RISING;
  GPIO_InitStruct.Pull = GPIO_NOPULL;
  HAL_GPIO_Init(RPM_Tick_GPIO_Port, &GPIO_InitStruct);

  /* EXTI interrupt init*/
  HAL_NVIC_SetPriority(EXTI2_IRQn, 0, 0);
  HAL_NVIC_EnableIRQ(EXTI2_IRQn);

  HAL_NVIC_SetPriority(EXTI15_10_IRQn, 0, 0);
  HAL_NVIC_EnableIRQ(EXTI15_10_IRQn);

}

/* USER CODE BEGIN 4 */
void HAL_UART_RxCpltCallback(UART_HandleTypeDef *huart)
{
    if (huart->Instance == USART6)
    {
        /* Transmit one byte with 100 ms timeout. Transmit the character that was received into the variable called "byte" */
        HAL_UART_Transmit(&huart6, &byte, 1, 100);
        rcv_intpt_flag = 1;
    }
}

void HAL_TIM_IC_CaptureCallback(TIM_HandleTypeDef *htim)
{
if (htim->Instance == TIM4)
    {
        if (htim->Channel == 1) // if the interrupt source is channel 1
        {
            if (first_edge == 0) // if the first value is not captured
            {
                time_edge1 = HAL_TIM_ReadCapturedValue(htim, TIM_CHANNEL_1); // read the first value
                first_edge = 1; // set the first captured as true
            }
   else // if the first is already captured
            {
                time_edge2 = HAL_TIM_ReadCapturedValue(htim, TIM_CHANNEL_1); // read second value
                __HAL_TIM_SET_COUNTER(htim, 0); // reset the counter
                hcsr04_Rx_flag = 1; // set the interrupt flag for result done
            }
        }
    }
}

void HAL_GPIO_EXTI_Callback(uint16_t GPIO_Pin)
{
    if (GPIO_Pin == RPM_Tick_Pin)
    {
        rpm_tick_count += 1;
    }
}

void HAL_TIM_PeriodElapsedCallback(TIM_HandleTypeDef *htim)
{
    if ((htim->Instance == TIM5))
    {
        wall_clock_hr_update_flag = 0; // screen updates occur hourly on the half-hour
        clock_secs += 1;

        if ((clock_secs == 60))
        {
            clock_mins += 1;
            clock_secs = 0;
        }

        if ((clock_mins == 60))
        {
            clock_hours += 1;
            clock_mins = 0;
        }

        wall_clock_hr_update_flag = 1; // screen updates occur hourly on the hour
    }
}

/* USER CODE END 4 */

void Error_Handler(void)
{
  __disable_irq();
  while (1)
  {
  }
}
